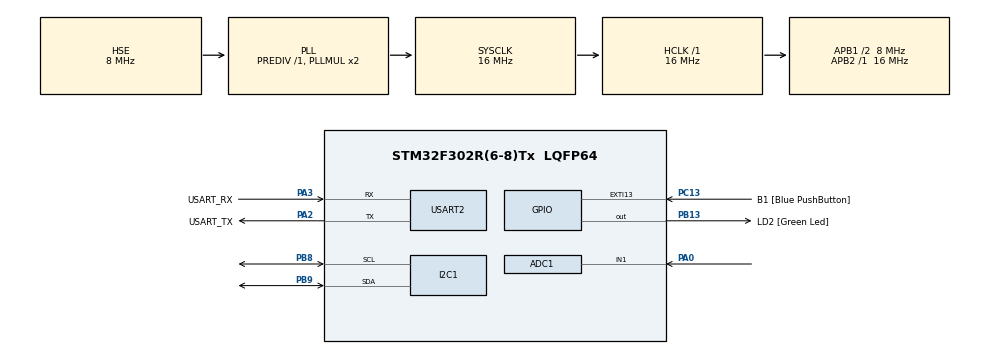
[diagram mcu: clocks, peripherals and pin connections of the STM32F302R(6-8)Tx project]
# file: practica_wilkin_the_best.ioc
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ADC1.Channel-0\#ChannelRegularConversion=ADC_CHANNEL_1
ADC1.NbrOfConversionFlag=1
ADC1.Offset-0\#ChannelRegularConversion=0
ADC1.OffsetNumber-0\#ChannelRegularConversion=ADC_OFFSET_NONE
ADC1.Rank-0\#ChannelRegularConversion=1
ADC1.SamplingTime-0\#ChannelRegularConversion=ADC_SAMPLETIME_601CYCLES_5
ADC1.SamplingTimeOPAMP-0\#ChannelRegularConversion=ADC_SAMPLETIME_61CYCLES_5
ADC1.SubFamily=STM32F302x8
ADC1.master=1
Mcu.Family=STM32F3
Mcu.Name=STM32F302R(6-8)Tx
Mcu.Package=LQFP64
NVIC.PriorityGroup=NVIC_PRIORITYGROUP_0
NVIC.TIM2_IRQn=true\:0\:0\:false\:false\:true\:true\:true\:true
PA0.Mode=IN1-Single-Ended
PA0.Signal=ADC1_IN1
PA13.GPIO_Label=TMS
PA13.Mode=Serial_Wire
PA13.Signal=SYS_JTMS-SWDIO
PA14.GPIO_Label=TCK
PA14.Mode=Serial_Wire
PA14.Signal=SYS_JTCK-SWCLK
PA2.GPIO_Label=USART_TX
PA2.GPIO_Mode=GPIO_MODE_AF_PP
PA2.GPIO_PuPd=GPIO_NOPULL
PA2.GPIO_Speed=GPIO_SPEED_FREQ_LOW
PA2.Mode=Asynchronous
PA2.Signal=USART2_TX
PA3.GPIO_Label=USART_RX
PA3.GPIO_Mode=GPIO_MODE_AF_PP
PA3.GPIO_PuPd=GPIO_NOPULL
PA3.GPIO_Speed=GPIO_SPEED_FREQ_LOW
PA3.Mode=Asynchronous
PA3.Signal=USART2_RX
PB13.GPIO_Label=LD2 [Green Led]
PB13.Signal=GPIO_Output
PB3.GPIO_Label=SWO
PB3.Mode=Trace_Asynchronous_SW
PB3.Signal=SYS_JTDO-TRACESWO
PB8.Mode=I2C
PB8.Signal=I2C1_SCL
PB9.Mode=I2C
PB9.Signal=I2C1_SDA
PC13.GPIO_Label=B1 [Blue PushButton]
PC13.GPIO_ModeDefaultEXTI=GPIO_MODE_IT_FALLING
PC13.Signal=GPXTI13
PC14\ -\ OSC32_IN.Mode=LSE-External-Oscillator
PC14\ -\ OSC32_IN.Signal=RCC_OSC32_IN
PC15\ -\ OSC32_OUT.Mode=LSE-External-Oscillator
PC15\ -\ OSC32_OUT.Signal=RCC_OSC32_OUT
PF0-OSC_IN.Mode=HSE-External-Clock-Source
PF0-OSC_IN.Signal=RCC_OSC_IN
PF1-OSC_OUT.Signal=RCC_OSC_OUT
ProjectManager.HeapSize=0x200
ProjectManager.StackSize=0x400
ProjectManager.TargetToolchain=STM32CubeIDE
RCC.AHBFreq_Value=16000000
RCC.APB1CLKDivider=RCC_HCLK_DIV2
RCC.APB1Freq_Value=8000000
RCC.APB1TimFreq_Value=16000000
RCC.APB2Freq_Value=16000000
RCC.APB2TimFreq_Value=16000000
RCC.CortexFreq_Value=16000000
RCC.HCLKFreq_Value=16000000
RCC.HSE_VALUE=8000000
RCC.HSI_VALUE=8000000
RCC.PLLM=8
RCC.PLLN=336
RCC.PLLP=RCC_PLLP_DIV4
RCC.PLLQ=7
RCC.PLLSourceVirtual=RCC_PLLSOURCE_HSE
RCC.SYSCLKFreq_VALUE=16000000
RCC.SYSCLKSourceVirtual=RCC_SYSCLKSOURCE_PLLCLK
RCC.USBFreq_Value=16000000
TIM2.Period=65535
TIM2.Prescaler=16-1
USART2.VirtualMode-Asynchronous=VM_ASYNC
VP_TIM1_VS_ClockSourceINT.Mode=Internal
VP_TIM2_VS_ClockSourceINT.Mode=Internal
board=NUCLEO-F302R8

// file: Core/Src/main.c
/* USER CODE BEGIN Header */
/**
  ******************************************************************************
  * @file           : main.c
  * @brief          : Main program body
  ******************************************************************************
  * @attention
  *
  * Copyright (c) 2024 STMicroelectronics.
  * All rights reserved.
  *
  * This software is licensed under terms that can be found in the LICENSE file
  * in the root directory of this software component.
  * If no LICENSE file comes with this software, it is provided AS-IS.
  *
  ******************************************************************************
  */
/* USER CODE END Header */
#include "main.h"

/* USER CODE BEGIN Includes */
#include"lcdjorge.h"
/* USER CODE END Includes */

/* USER CODE BEGIN PM */
#define Timer 	    10 //Tiempo de la interrupcion
#define Time_LCD    500//Tiempo requerido en ms
#define Time_keypad 250
#define Time_ADC    100
#define Time_matriz 750
#define Time_sonic  1000
//#define Time_keypad 250
//#define Time_matriz 750
//#define Time_sonic 1000
/* USER CODE END PM */

ADC_HandleTypeDef hadc1;

I2C_HandleTypeDef hi2c1;

TIM_HandleTypeDef htim1;
TIM_HandleTypeDef htim2;

UART_HandleTypeDef huart2;

/* USER CODE BEGIN PV */
struct FLAGS
{
	unsigned int LCD2:1;
	unsigned int KEYPAD:1;
	unsigned int ADC:1;
	unsigned int MATRIZ:1;
	unsigned int SONIC:1;
}FLAG;
uint32_t Medida_ADC;
/* USER CODE END PV */

void SystemClock_Config(void);
static void MX_GPIO_Init(void);
static void MX_USART2_UART_Init(void);
static void MX_ADC1_Init(void);
static void MX_I2C1_Init(void);
static void MX_TIM2_Init(void);
static void MX_TIM1_Init(void);

/* USER CODE BEGIN 0 */
void HAL_TIM_PeriodElapsedCallback(TIM_HandleTypeDef *htim)
{
	static unsigned int Count_LCD=0,Count_KEY=0,Count_ADC=0,Count_MATRIZ=0,Count_SONIC=0;

	if(htim->Instance==htim2.Instance)
	{

	//LDC
	if(Count_LCD<(Time_LCD/Timer))//Calculo para designar el tiempo(Tiempo en ms entre Tiempo de la interrupcion en ms)
	{
		Count_LCD++;
	}
	else
	{
		Count_LCD=0;
		FLAG.LCD2=1;
	}

	//KEYPAD
	if(Count_KEY<(Time_keypad/Timer))//Calculo para designar el tiempo(Tiempo en ms entre Tiempo de la interrupcion en ms)
		{
			Count_KEY++;
		}
		else
		{
			Count_KEY=0;
			FLAG.KEYPAD=1;
		}

	//ADC
	if(Count_ADC<(Time_ADC/Timer))
	{
		Count_ADC++;
	}
	else
	{
		Count_ADC=0;
		FLAG.ADC=1;
	}

	//MATRIZ
	if(Count_MATRIZ<(Time_matriz/Timer))
	{
		Count_MATRIZ++;
	}
	else
	{
		Count_MATRIZ=0;
		FLAG.MATRIZ=1;
	}

	//ULTRASONICO
	if(Count_SONIC<(Time_sonic/Timer))
	{
		Count_SONIC++;
	}
	else
	{
		Count_SONIC=0;
		FLAG.SONIC=1;
	}

	}

}

void Medir_ADC()
{

	HAL_ADC_Start(&hadc1); // inicio mi adc
	HAL_ADC_PollForConversion(&hadc1, 100);

	Medida_ADC = HAL_ADC_GetValue(&hadc1); // obtengo el valor de mi adc
	HAL_ADC_Stop(&hadc1); // detengo la lectura
}
/* USER CODE END 0 */

int main(void)
{

  /* MCU Configuration--------------------------------------------------------*/

  /* Reset of all peripherals, Initializes the Flash interface and the Systick. */
  HAL_Init();

  /* Configure the system clock */
  SystemClock_Config();

  /* Initialize all configured peripherals */
  MX_GPIO_Init();
  MX_USART2_UART_Init();
  MX_ADC1_Init();
  MX_I2C1_Init();
  MX_TIM2_Init();
  MX_TIM1_Init();
  /* USER CODE BEGIN 2 */
  HAL_TIM_Base_Start_IT(&htim2);

   lcd_init();
  /* USER CODE END 2 */

  /* Infinite loop */
  /* USER CODE BEGIN WHILE */
  while (1)
  {
	  if(FLAG.ADC)
		  {
			  FLAG.ADC=0;
			  Medir_ADC();
		  }

		  if(FLAG.LCD2)
		  {
//			  lcd_clear();
			  lcd_enviar_int(Medida_ADC,0,0);
			  FLAG.LCD2=0;
		  }

    /* USER CODE END WHILE */

  }
}

void SystemClock_Config(void)
{
  RCC_OscInitTypeDef RCC_OscInitStruct = {0};
  RCC_ClkInitTypeDef RCC_ClkInitStruct = {0};
  RCC_PeriphCLKInitTypeDef PeriphClkInit = {0};

  /** Initializes the RCC Oscillators according to the specified parameters
  * in the RCC_OscInitTypeDef structure.
  */
  RCC_OscInitStruct.OscillatorType = RCC_OSCILLATORTYPE_HSI|RCC_OSCILLATORTYPE_HSE;
  RCC_OscInitStruct.HSEState = RCC_HSE_BYPASS;
  RCC_OscInitStruct.HSEPredivValue = RCC_HSE_PREDIV_DIV1;
  RCC_OscInitStruct.HSIState = RCC_HSI_ON;
  RCC_OscInitStruct.HSICalibrationValue = RCC_HSICALIBRATION_DEFAULT;
  RCC_OscInitStruct.PLL.PLLState = RCC_PLL_ON;
  RCC_OscInitStruct.PLL.PLLSource = RCC_PLLSOURCE_HSE;
  RCC_OscInitStruct.PLL.PLLMUL = RCC_PLL_MUL2;
  if (HAL_RCC_OscConfig(&RCC_OscInitStruct) != HAL_OK)
  {
    Error_Handler();
  }

  /** Initializes the CPU, AHB and APB buses clocks
  */
  RCC_ClkInitStruct.ClockType = RCC_CLOCKTYPE_HCLK|RCC_CLOCKTYPE_SYSCLK
                              |RCC_CLOCKTYPE_PCLK1|RCC_CLOCKTYPE_PCLK2;
  RCC_ClkInitStruct.SYSCLKSource = RCC_SYSCLKSOURCE_PLLCLK;
  RCC_ClkInitStruct.AHBCLKDivider = RCC_SYSCLK_DIV1;
  RCC_ClkInitStruct.APB1CLKDivider = RCC_HCLK_DIV2;
  RCC_ClkInitStruct.APB2CLKDivider = RCC_HCLK_DIV1;

  if (HAL_RCC_ClockConfig(&RCC_ClkInitStruct, FLASH_LATENCY_0) != HAL_OK)
  {
    Error_Handler();
  }
  PeriphClkInit.PeriphClockSelection = RCC_PERIPHCLK_I2C1|RCC_PERIPHCLK_TIM1
                              |RCC_PERIPHCLK_ADC1;
  PeriphClkInit.I2c1ClockSelection = RCC_I2C1CLKSOURCE_HSI;
  PeriphClkInit.Tim1ClockSelection = RCC_TIM1CLK_HCLK;
  PeriphClkInit.Adc1ClockSelection = RCC_ADC1PLLCLK_DIV1;

  if (HAL_RCCEx_PeriphCLKConfig(&PeriphClkInit) != HAL_OK)
  {
    Error_Handler();
  }
}

static void MX_ADC1_Init(void)
{

  ADC_ChannelConfTypeDef sConfig = {0};

  /** Common config
  */
  hadc1.Instance = ADC1;
  hadc1.Init.ClockPrescaler = ADC_CLOCK_ASYNC_DIV1;
  hadc1.Init.Resolution = ADC_RESOLUTION_12B;
  hadc1.Init.ScanConvMode = ADC_SCAN_DISABLE;
  hadc1.Init.ContinuousConvMode = DISABLE;
  hadc1.Init.DiscontinuousConvMode = DISABLE;
  hadc1.Init.ExternalTrigConvEdge = ADC_EXTERNALTRIGCONVEDGE_NONE;
  hadc1.Init.ExternalTrigConv = ADC_SOFTWARE_START;
  hadc1.Init.DataAlign = ADC_DATAALIGN_RIGHT;
  hadc1.Init.NbrOfConversion = 1;
  hadc1.Init.DMAContinuousRequests = DISABLE;
  hadc1.Init.EOCSelection = ADC_EOC_SINGLE_CONV;
  hadc1.Init.LowPowerAutoWait = DISABLE;
  hadc1.Init.Overrun = ADC_OVR_DATA_OVERWRITTEN;
  if (HAL_ADC_Init(&hadc1) != HAL_OK)
  {
    Error_Handler();
  }

  /** Configure Regular Channel
  */
  sConfig.Channel = ADC_CHANNEL_1;
  sConfig.Rank = ADC_REGULAR_RANK_1;
  sConfig.SingleDiff = ADC_SINGLE_ENDED;
  sConfig.SamplingTime = ADC_SAMPLETIME_601CYCLES_5;
  sConfig.OffsetNumber = ADC_OFFSET_NONE;
  sConfig.Offset = 0;
  if (HAL_ADC_ConfigChannel(&hadc1, &sConfig) != HAL_OK)
  {
    Error_Handler();
  }

}

static void MX_I2C1_Init(void)
{

  hi2c1.Instance = I2C1;
  hi2c1.Init.Timing = 0x2000090E;
  hi2c1.Init.OwnAddress1 = 0;
  hi2c1.Init.AddressingMode = I2C_ADDRESSINGMODE_7BIT;
  hi2c1.Init.DualAddressMode = I2C_DUALADDRESS_DISABLE;
  hi2c1.Init.OwnAddress2 = 0;
  hi2c1.Init.OwnAddress2Masks = I2C_OA2_NOMASK;
  hi2c1.Init.GeneralCallMode = I2C_GENERALCALL_DISABLE;
  hi2c1.Init.NoStretchMode = I2C_NOSTRETCH_DISABLE;
  if (HAL_I2C_Init(&hi2c1) != HAL_OK)
  {
    Error_Handler();
  }

  /** Configure Analogue filter
  */
  if (HAL_I2CEx_ConfigAnalogFilter(&hi2c1, I2C_ANALOGFILTER_ENABLE) != HAL_OK)
  {
    Error_Handler();
  }

  /** Configure Digital filter
  */
  if (HAL_I2CEx_ConfigDigitalFilter(&hi2c1, 0) != HAL_OK)
  {
    Error_Handler();
  }

}

static void MX_TIM1_Init(void)
{

  TIM_ClockConfigTypeDef sClockSourceConfig = {0};
  TIM_MasterConfigTypeDef sMasterConfig = {0};

  htim1.Instance = TIM1;
  htim1.Init.Prescaler = 0;
  htim1.Init.CounterMode = TIM_COUNTERMODE_UP;
  htim1.Init.Period = 65535;
  htim1.Init.ClockDivision = TIM_CLOCKDIVISION_DIV1;
  htim1.Init.RepetitionCounter = 0;
  htim1.Init.AutoReloadPreload = TIM_AUTORELOAD_PRELOAD_DISABLE;
  if (HAL_TIM_Base_Init(&htim1) != HAL_OK)
  {
    Error_Handler();
  }
  sClockSourceConfig.ClockSource = TIM_CLOCKSOURCE_INTERNAL;
  if (HAL_TIM_ConfigClockSource(&htim1, &sClockSourceConfig) != HAL_OK)
  {
    Error_Handler();
  }
  sMasterConfig.MasterOutputTrigger = TIM_TRGO_RESET;
  sMasterConfig.MasterOutputTrigger2 = TIM_TRGO2_RESET;
  sMasterConfig.MasterSlaveMode = TIM_MASTERSLAVEMODE_DISABLE;
  if (HAL_TIMEx_MasterConfigSynchronization(&htim1, &sMasterConfig) != HAL_OK)
  {
    Error_Handler();
  }

}

static void MX_TIM2_Init(void)
{

  TIM_ClockConfigTypeDef sClockSourceConfig = {0};
  TIM_MasterConfigTypeDef sMasterConfig = {0};

  htim2.Instance = TIM2;
  htim2.Init.Prescaler = 16-1;
  htim2.Init.CounterMode = TIM_COUNTERMODE_UP;
  htim2.Init.Period = 1000-1;
  htim2.Init.ClockDivision = TIM_CLOCKDIVISION_DIV1;
  htim2.Init.AutoReloadPreload = TIM_AUTORELOAD_PRELOAD_DISABLE;
  if (HAL_TIM_Base_Init(&htim2) != HAL_OK)
  {
    Error_Handler();
  }
  sClockSourceConfig.ClockSource = TIM_CLOCKSOURCE_INTERNAL;
  if (HAL_TIM_ConfigClockSource(&htim2, &sClockSourceConfig) != HAL_OK)
  {
    Error_Handler();
  }
  sMasterConfig.MasterOutputTrigger = TIM_TRGO_RESET;
  sMasterConfig.MasterSlaveMode = TIM_MASTERSLAVEMODE_DISABLE;
  if (HAL_TIMEx_MasterConfigSynchronization(&htim2, &sMasterConfig) != HAL_OK)
  {
    Error_Handler();
  }

}

static void MX_USART2_UART_Init(void)
{

  huart2.Instance = USART2;
  huart2.Init.BaudRate = 38400;
  huart2.Init.WordLength = UART_WORDLENGTH_8B;
  huart2.Init.StopBits = UART_STOPBITS_1;
  huart2.Init.Parity = UART_PARITY_NONE;
  huart2.Init.Mode = UART_MODE_TX_RX;
  huart2.Init.HwFlowCtl = UART_HWCONTROL_NONE;
  huart2.Init.OverSampling = UART_OVERSAMPLING_16;
  huart2.Init.OneBitSampling = UART_ONE_BIT_SAMPLE_DISABLE;
  huart2.AdvancedInit.AdvFeatureInit = UART_ADVFEATURE_NO_INIT;
  if (HAL_UART_Init(&huart2) != HAL_OK)
  {
    Error_Handler();
  }

}

static void MX_GPIO_Init(void)
{
  GPIO_InitTypeDef GPIO_InitStruct = {0};

  /* GPIO Ports Clock Enable */
  __HAL_RCC_GPIOC_CLK_ENABLE();
  __HAL_RCC_GPIOF_CLK_ENABLE();
  __HAL_RCC_GPIOA_CLK_ENABLE();
  __HAL_RCC_GPIOB_CLK_ENABLE();

  /*Configure GPIO pin Output Level */
  HAL_GPIO_WritePin(LD2_GPIO_Port, LD2_Pin, GPIO_PIN_RESET);

  /*Configure GPIO pin : B1_Pin */
  GPIO_InitStruct.Pin = B1_Pin;
  GPIO_InitStruct.Mode = GPIO_MODE_IT_FALLING;
  GPIO_InitStruct.Pull = GPIO_NOPULL;
  HAL_GPIO_Init(B1_GPIO_Port, &GPIO_InitStruct);

  /*Configure GPIO pin : LD2_Pin */
  GPIO_InitStruct.Pin = LD2_Pin;
  GPIO_InitStruct.Mode = GPIO_MODE_OUTPUT_PP;
  GPIO_InitStruct.Pull = GPIO_NOPULL;
  GPIO_InitStruct.Speed = GPIO_SPEED_FREQ_LOW;
  HAL_GPIO_Init(LD2_GPIO_Port, &GPIO_InitStruct);

}

void Error_Handler(void)
{
  __disable_irq();
  while (1)
  {
  }
}
